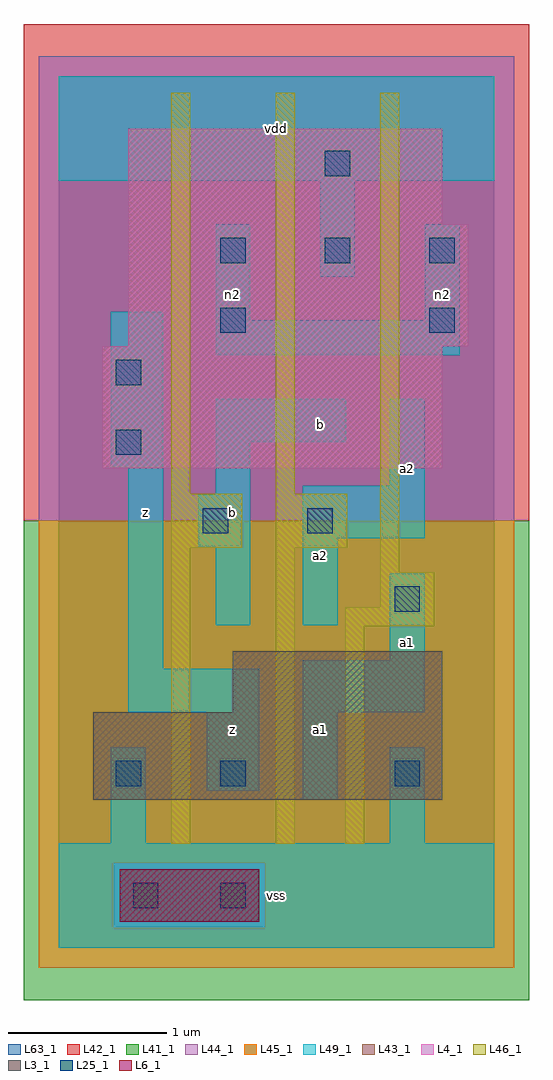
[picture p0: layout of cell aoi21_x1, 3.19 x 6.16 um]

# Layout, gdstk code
import gdstk
lib = gdstk.Library(unit=1e-6, precision=1e-09)
def R(c, l, rs):  # rectangles x0, y0, x1, y1
    for r in rs: c.add(gdstk.rectangle(r[:2], r[2:], *l))
def A(c, l, x, y, w, h, nx, ny, dx, dy):  # array of equal rectangles
    R(c, l, [(x+i*dx, y+j*dy, x+i*dx+w, y+j*dy+h) for i in range(nx) for j in range(ny)])
L3_1 = (3, 1)
L4_1 = (4, 1)
L6_1 = (6, 1)
L25_1 = (25, 1)
L41_1 = (41, 1)
L42_1 = (42, 1)
L43_1 = (43, 1)
L44_1 = (44, 1)
L45_1 = (45, 1)
L46_1 = (46, 1)
L49_1 = (49, 1)
L63_1 = (63, 1)

aoi21_x1 = lib.new_cell('aoi21_x1')
R(aoi21_x1, L3_1, [(0.22,0.935,2.42,1.485), (1.1,1.485,2.42,1.87)])
R(aoi21_x1, L4_1, [(0.275,3.025,2.42,3.795), (0.44,3.795,2.585,4.565), (0.44,4.565,2.42,5.17)])
R(aoi21_x1, L6_1, [(0.385,0.165,1.265,0.495)])
A(aoi21_x1, L25_1, 1.02, 4.32, 0.16, 0.16, 3, 1, 0.66, 0)
R(aoi21_x1, L25_1, [(0.47,0.25,0.63,0.41), (1.02,0.25,1.18,0.41), (0.36,1.02,0.52,1.18), (1.02,1.02,1.18,1.18), (2.12,1.02,2.28,1.18), (2.12,2.12,2.28,2.28), (0.91,2.615,1.07,2.775), (1.57,2.615,1.73,2.775), (0.36,3.11,0.52,3.27), (0.36,3.55,0.52,3.71), (1.02,3.88,1.18,4.04), (2.34,3.88,2.5,4.04), (1.68,4.87,1.84,5.03)])
R(aoi21_x1, L41_1, [(-0.22,-0.33,2.97,2.695)])
R(aoi21_x1, L42_1, [(-0.22,2.695,2.97,5.83)])
R(aoi21_x1, L43_1, [(0.385,0.165,1.265,0.495), (0.22,0.935,2.42,1.485), (1.1,1.485,2.42,1.87), (0.275,3.025,2.42,3.795), (0.44,3.795,2.585,4.565), (0.44,4.565,2.42,5.17)])
R(aoi21_x1, L44_1, [(0.345,0.125,1.305,0.535), (-0.125,2.695,2.875,5.625)])
R(aoi21_x1, L45_1, [(-0.125,-0.125,2.875,0.125), (-0.125,0.125,0.345,0.535), (1.305,0.125,2.875,0.535), (-0.125,0.535,2.875,2.695)])
R(aoi21_x1, L46_1, [(0.71,0.655,0.83,2.525), (1.37,0.655,1.49,2.525), (1.81,0.655,1.93,2.03), (1.81,2.03,2.37,2.15), (2.03,2.15,2.37,2.37), (2.03,2.37,2.15,5.395), (0.71,2.525,1.16,2.865), (1.37,2.525,1.82,2.865), (0.71,2.865,0.83,5.395), (1.37,2.865,1.49,5.395)])
R(aoi21_x1, L49_1, [(0,0,2.75,0.66), (0.33,0.66,0.55,1.265), (2.09,0.66,2.31,1.265), (1.54,0.935,1.76,1.485), (0.935,0.99,1.265,1.485), (0.44,1.485,1.265,1.76), (1.54,1.485,2.31,1.815), (0.44,1.76,0.66,3.025), (2.09,1.815,2.31,2.365), (0.99,2.035,1.21,2.53), (1.54,2.035,1.76,2.585), (0.88,2.53,1.21,2.86), (1.54,2.585,2.31,2.915), (0.99,2.86,1.21,3.19), (2.09,2.915,2.31,3.465), (0.33,3.025,0.66,4.015), (0.99,3.19,1.815,3.465), (0.99,3.74,2.53,3.96), (0.99,3.96,1.21,4.565), (2.31,3.96,2.53,4.565), (1.65,4.235,1.87,4.84), (0,4.84,2.75,5.5)])
R(aoi21_x1, L63_1, [(0,0,2.75,5.5)])
aoi21_x1.add(gdstk.Label('z', (1.1,1.375), layer=49, texttype=1))
aoi21_x1.add(gdstk.Label('z', (1.1,1.375), layer=49, texttype=1))
aoi21_x1.add(gdstk.Label('b', (1.1,2.75), layer=49, texttype=1))
aoi21_x1.add(gdstk.Label('b', (1.1,2.75), layer=49, texttype=1))
aoi21_x1.add(gdstk.Label('z', (0.55,2.75), layer=49, texttype=1))
aoi21_x1.add(gdstk.Label('z', (0.55,2.75), layer=49, texttype=1))
aoi21_x1.add(gdstk.Label('n2', (1.1,4.125), layer=49, texttype=1))
aoi21_x1.add(gdstk.Label('vss', (1.375,0.33), layer=49, texttype=1))
aoi21_x1.add(gdstk.Label('vss', (1.375,0.33), layer=49, texttype=1))
aoi21_x1.add(gdstk.Label('a1', (1.65,1.375), layer=49, texttype=1))
aoi21_x1.add(gdstk.Label('a1', (1.65,1.375), layer=49, texttype=1))
aoi21_x1.add(gdstk.Label('a2', (1.65,2.475), layer=49, texttype=1))
aoi21_x1.add(gdstk.Label('a2', (1.65,2.475), layer=49, texttype=1))
aoi21_x1.add(gdstk.Label('b', (1.65,3.3), layer=49, texttype=1))
aoi21_x1.add(gdstk.Label('b', (1.65,3.3), layer=49, texttype=1))
aoi21_x1.add(gdstk.Label('vdd', (1.375,5.17), layer=49, texttype=1))
aoi21_x1.add(gdstk.Label('vdd', (1.375,5.17), layer=49, texttype=1))
aoi21_x1.add(gdstk.Label('a1', (2.2,1.925), layer=49, texttype=1))
aoi21_x1.add(gdstk.Label('a1', (2.2,1.925), layer=49, texttype=1))
aoi21_x1.add(gdstk.Label('a2', (2.2,3.025), layer=49, texttype=1))
aoi21_x1.add(gdstk.Label('a2', (2.2,3.025), layer=49, texttype=1))
aoi21_x1.add(gdstk.Label('n2', (2.42,4.125), layer=49, texttype=1))

lib.write_gds('aoi21_x1.gds')
